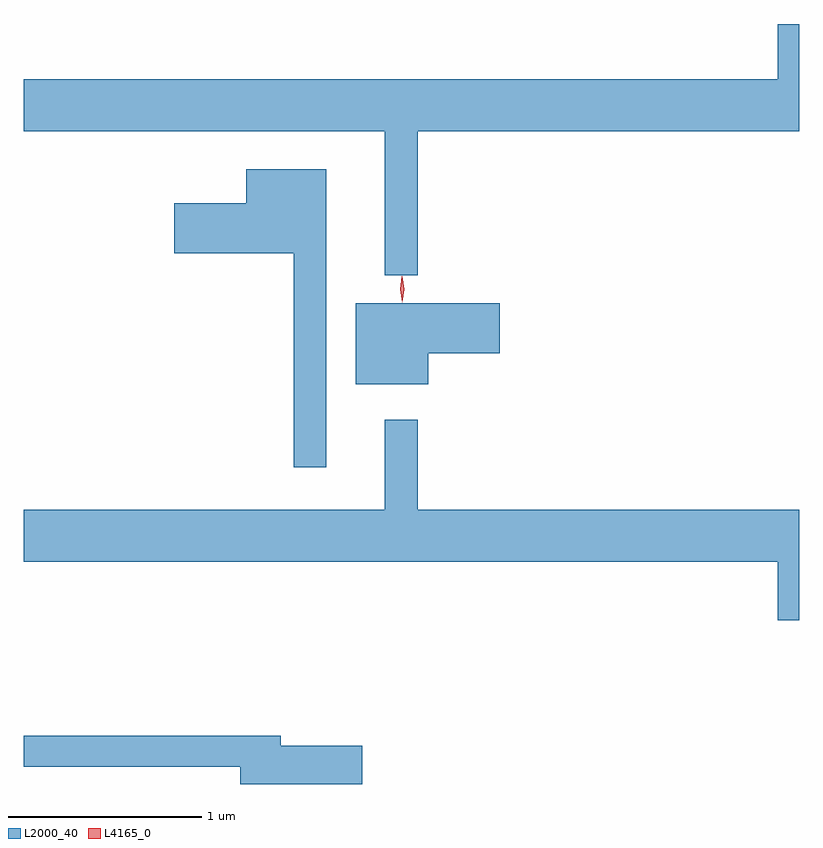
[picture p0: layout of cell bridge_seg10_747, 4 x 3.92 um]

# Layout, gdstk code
import gdstk
lib = gdstk.Library(unit=1e-6, precision=1e-09)
def P(c, l, *ps):  # polygons
    for p in ps: c.add(gdstk.Polygon(p, *l))
L2000_40 = (2000, 40)
L4165_0 = (4165, 0)

bridge_seg10_747 = lib.new_cell('bridge_seg10_747')
P(bridge_seg10_747, L2000_40, [(512.919,2136.116),(514.888,2136.116),(514.888,2136.669),(514.776,2136.669),(514.776,2136.384),(510.888,2136.384),(510.888,2136.116),(512.751,2136.116),(512.751,2135.373),(512.919,2135.373)],
  [(512.449,2135.919),(512.036,2135.919),(512.036,2135.744),(511.666,2135.744),(511.666,2135.486),(512.281,2135.486),(512.281,2134.383),(512.449,2134.383)],
  [(512.974,2134.971),(513.344,2134.971),(513.344,2135.229),(512.601,2135.229),(512.601,2134.811),(512.974,2134.811)],
  [(514.888,2134.164),(512.919,2134.164),(512.919,2134.628),(512.751,2134.628),(512.751,2134.164),(510.888,2134.164),(510.888,2133.896),(514.776,2133.896),(514.776,2133.596),(514.888,2133.596)],
  [(512.634,2132.949),(512.214,2132.949),(512.214,2132.999),(510.888,2132.999),(510.888,2132.841),(512.006,2132.841),(512.006,2132.751),(512.634,2132.751)])
P(bridge_seg10_747, L4165_0, [(512.84,2135.234),(512.84,2135.234),(512.83,2135.302),(512.839,2135.369),(512.84,2135.369),(512.84,2135.369),(512.85,2135.302),(512.841,2135.234)],
  [(512.84,2135.24),(512.84,2135.241),(512.83,2135.303),(512.839,2135.365),(512.84,2135.366),(512.84,2135.365),(512.85,2135.303),(512.841,2135.241)])

lib.write_gds('bridge_seg10_747.gds')
